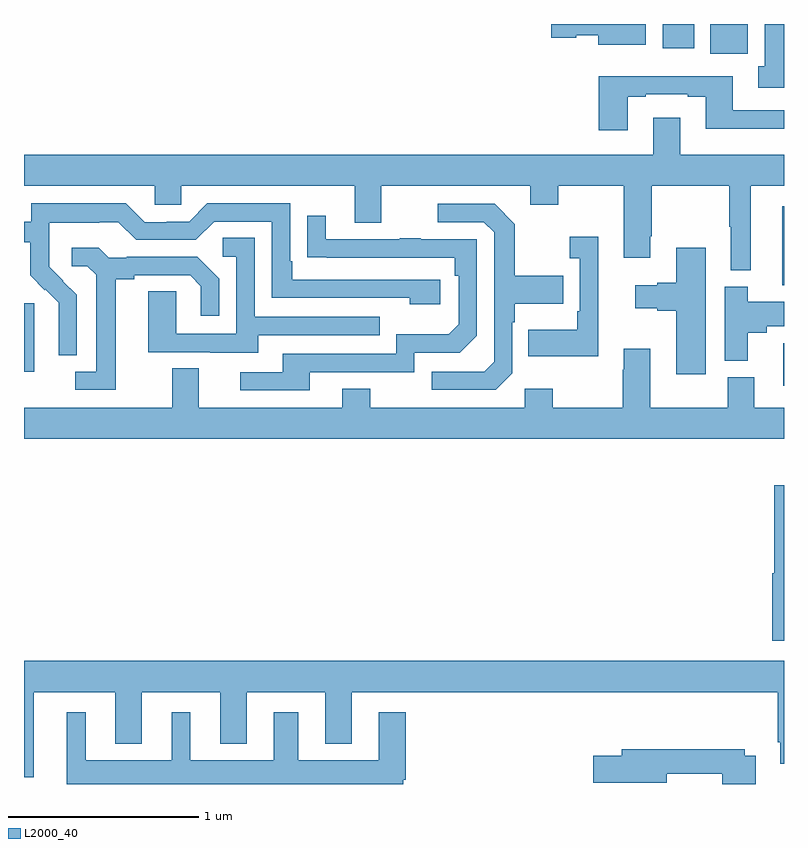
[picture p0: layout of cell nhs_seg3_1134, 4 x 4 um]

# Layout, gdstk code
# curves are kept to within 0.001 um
import gdstk
lib = gdstk.Library(unit=1e-6, precision=1e-09)
def R(c, l, rs):  # rectangles x0, y0, x1, y1
    for r in rs: c.add(gdstk.rectangle(r[:2], r[2:], *l))
def P(c, l, *ps):  # polygons
    for p in ps: c.add(gdstk.Polygon(p, *l))
L2000_40 = (2000, 40)

nhs_seg3_1134 = lib.new_cell('nhs_seg3_1134')
R(nhs_seg3_1134, L2000_40, [(172.997,734.496,173,734.721), (169,734.57,169.054,734.931), (172.991,735.026,173,735.442), (172.613,736.244,172.81,736.4), (172.361,736.272,172.528,736.4)])
P(nhs_seg3_1134, L2000_40, [(173,736.4),(172.898,736.4),(172.898,736.178),(172.865,736.178),(172.865,736.065),(173,736.065)],
  [(172.273,736.4),(171.774,736.4),(171.774,736.328),(171.906,736.328),(171.906,736.34),(172.022,736.34),(172.022,736.292),(172.273,736.292)],
  [(172.177,736.017),(172.273,736.017),(172.273,736.029),(172.493,736.029),(172.493,736.017),(172.589,736.017),(172.589,735.848),(173,735.848),(173,735.945),(172.729,735.945),(172.729,736.126),(172.025,736.126),(172.025,735.84),(172.177,735.84)],
  [(172.825,735.548),(173,735.548),(173,735.712),(172.453,735.712),(172.453,735.907),(172.313,735.907),(172.313,735.712),(169,735.712),(169,735.548),(169.689,735.548),(169.689,735.45),(169.827,735.45),(169.827,735.548),(170.741,735.548),(170.741,735.354),(170.881,735.354),(170.881,735.548),(171.665,735.548),(171.665,735.449),(171.813,735.449),(171.813,735.548),(172.157,735.548),(172.157,735.171),(172.297,735.171),(172.297,735.283),(172.305,735.283),(172.305,735.548),(172.711,735.548),(172.711,735.332),(172.721,735.332),(172.721,735.103),(172.825,735.103)],
  [(169.278,734.974),(169.132,735.122),(169.132,735.219),(169.134,735.219),(169.134,735.353),(169.397,735.353),(169.397,735.357),(169.497,735.357),(169.59,735.264),(169.905,735.264),(170.001,735.36),(170.304,735.36),(170.304,734.958),(171.029,734.958),(171.029,734.924),(171.19,734.924),(171.19,735.054),(170.413,735.054),(170.413,735.151),(170.4,735.151),(170.4,735.456),(169.965,735.456),(169.869,735.36),(169.751,735.36),(169.751,735.357),(169.635,735.357),(169.535,735.457),(169.038,735.457),(169.038,735.36),(169,735.36),(169,735.252),(169.033,735.252),(169.033,735.077),(169.11,735),(169.113,735.003),(169.184,734.933),(169.184,734.81),(169.182,734.81),(169.182,734.656),(169.278,734.656)],
  [(171.57,734.562),(171.57,734.831),(171.583,734.831),(171.583,734.927),(171.839,734.927),(171.839,735.075),(171.583,735.075),(171.583,735.347),(171.477,735.453),(171.177,735.453),(171.177,735.357),(171.42,735.357),(171.474,735.303),(171.474,734.622),(171.423,734.571),(171.147,734.571),(171.147,734.475),(171.483,734.475)],
  [(170.503,734.568),(171.054,734.568),(171.054,734.67),(171.294,734.67),(171.384,734.76),(171.384,735.267),(171.089,735.267),(171.089,735.272),(170.977,735.272),(170.977,735.267),(170.587,735.267),(170.587,735.391),(170.491,735.391),(170.491,735.172),(171.268,735.171),(171.268,735.074),(171.288,735.074),(171.288,734.82),(171.235,734.767),(170.958,734.767),(170.958,734.664),(170.363,734.664),(170.363,734.568),(170.139,734.568),(170.139,734.472),(170.503,734.472)],
  [(172.022,735.28),(171.873,735.28),(171.873,735.167),(171.924,735.167),(171.924,734.887),(171.912,734.887),(171.912,734.791),(171.655,734.791),(171.655,734.651),(172.022,734.651)],
  [(170.233,734.763),(170.873,734.763),(170.873,734.859),(170.214,734.859),(170.214,735.275),(170.046,735.275),(170.046,735.174),(170.118,735.174),(170.118,734.769),(169.8,734.769),(169.8,734.993),(169.655,734.993),(169.655,734.673),(169.979,734.673),(169.979,734.669),(170.233,734.669)],
  [(169.483,735.056),(169.579,735.056),(169.579,735.078),(169.874,735.078),(169.931,735.021),(169.931,734.865),(170.028,734.865),(170.028,735.058),(169.912,735.174),(169.54,735.174),(169.54,735.171),(169.446,735.171),(169.394,735.223),(169.251,735.223),(169.251,735.126),(169.332,735.126),(169.379,735.079),(169.379,734.571),(169.269,734.571),(169.269,734.475),(169.483,734.475)],
  [(172.588,735.223),(172.433,735.223),(172.433,735.038),(172.334,735.038),(172.334,735.025),(172.218,735.025),(172.218,734.903),(172.334,734.903),(172.334,734.891),(172.433,734.891),(172.433,734.556),(172.588,734.556)],
  [(172.81,734.774),(172.909,734.774),(172.909,734.81),(173,734.81),(173,734.938),(172.81,734.938),(172.81,735.018),(172.688,735.018),(172.688,734.627),(172.81,734.627)],
  [(173,734.38),(172.843,734.38),(172.843,734.542),(172.703,734.542),(172.703,734.38),(172.297,734.38),(172.297,734.692),(172.157,734.692),(172.157,734.579),(172.15,734.579),(172.15,734.38),(171.783,734.38),(171.783,734.479),(171.636,734.479),(171.636,734.38),(170.823,734.38),(170.823,734.479),(170.675,734.479),(170.675,734.38),(169.921,734.38),(169.921,734.588),(169.781,734.588),(169.781,734.38),(169,734.38),(169,734.216),(173,734.216)],
  [(173,733.972),(172.949,733.972),(172.949,733.51),(172.937,733.51),(172.937,733.155),(173,733.155)],
  [(169,732.435),(169.051,732.435),(169.051,732.884),(169.481,732.884),(169.481,732.611),(169.621,732.611),(169.621,732.884),(170.033,732.884),(170.033,732.611),(170.173,732.611),(170.173,732.884),(170.585,732.884),(170.585,732.611),(170.725,732.611),(170.725,732.884),(172.967,732.884),(172.967,732.619),(172.979,732.619),(172.979,732.507),(173,732.507),(173,733.048),(169,733.048)],
  [(170.995,732.422),(171.008,732.422),(171.008,732.778),(170.867,732.778),(170.867,732.526),(170.443,732.526),(170.443,732.778),(170.315,732.778),(170.315,732.526),(169.876,732.526),(169.876,732.778),(169.778,732.778),(169.778,732.526),(169.324,732.526),(169.324,732.778),(169.226,732.778),(169.226,732.4),(170.995,732.4)],
  [(172.851,732.55),(172.794,732.55),(172.794,732.583),(172.145,732.583),(172.145,732.549),(171.996,732.549),(171.996,732.407),(172.384,732.407),(172.384,732.454),(172.676,732.454),(172.676,732.4),(172.851,732.4)])

lib.write_gds('nhs_seg3_1134.gds')
